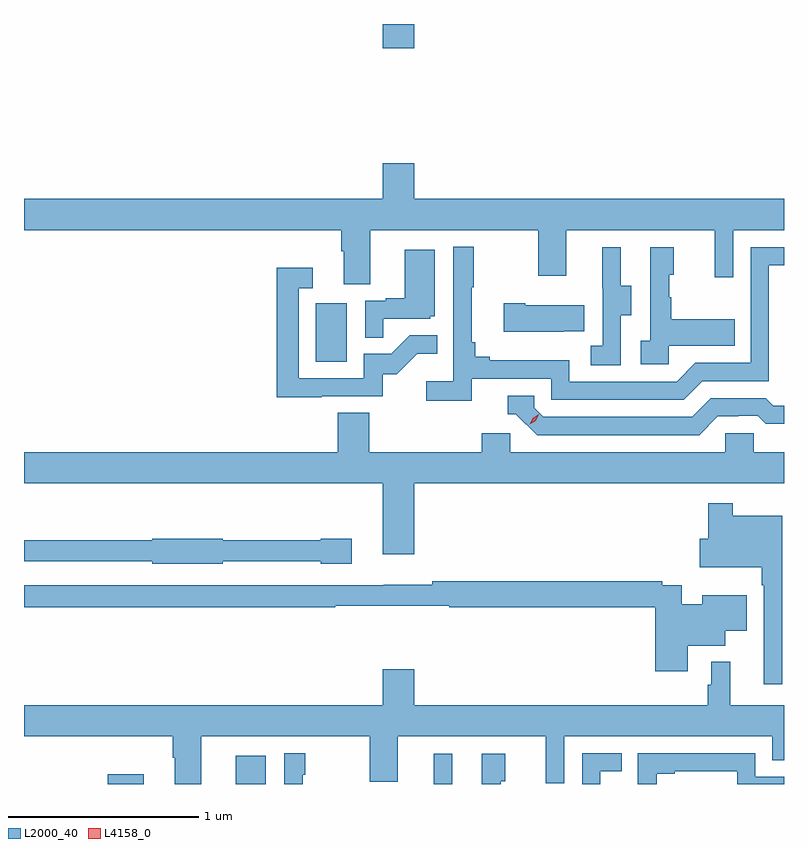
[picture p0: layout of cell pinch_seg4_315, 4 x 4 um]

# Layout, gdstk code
import gdstk
lib = gdstk.Library(unit=1e-6, precision=1e-09)
def R(c, l, rs):  # rectangles x0, y0, x1, y1
    for r in rs: c.add(gdstk.rectangle(r[:2], r[2:], *l))
def P(c, l, *ps):  # polygons
    for p in ps: c.add(gdstk.Polygon(p, *l))
L2000_40 = (2000, 40)
L4158_0 = (4158, 0)

pinch_seg4_315 = lib.new_cell('pinch_seg4_315')
R(pinch_seg4_315, L2000_40, [(918.805,795.237,918.994,795.289), (919.478,795.237,919.636,795.385), (920.519,795.237,920.617,795.397), (919.898,797.46,920.062,797.767), (920.252,799.11,920.416,799.237)])
P(pinch_seg4_315, L2000_40, [(920.185,798.152),(921.07,798.152),(921.07,797.913),(921.217,797.913),(921.217,798.152),(921.998,798.152),(921.998,797.904),(922.095,797.904),(922.095,798.152),(922.363,798.152),(922.363,798.316),(920.416,798.316),(920.416,798.505),(920.252,798.505),(920.252,798.316),(918.363,798.316),(918.363,798.152),(920.033,798.152),(920.033,798.04),(920.045,798.04),(920.045,797.866),(920.185,797.866)],
  [(920.72,797.37),(921.138,797.37),(921.138,797.259),(921.835,797.259),(921.934,797.358),(922.284,797.358),(922.284,797.967),(922.363,797.967),(922.363,798.063),(922.188,798.063),(922.188,797.454),(921.897,797.454),(921.798,797.355),(921.234,797.355),(921.234,797.467),(920.815,797.467),(920.815,797.486),(920.738,797.486),(920.738,797.563),(920.719,797.563),(920.719,797.851),(920.731,797.851),(920.731,798.064),(920.622,798.064),(920.622,797.356),(920.481,797.356),(920.481,797.254),(920.72,797.254)],
  [(921.504,797.704),(921.559,797.704),(921.559,797.859),(921.505,797.859),(921.505,798.061),(921.407,798.061),(921.407,797.847),(921.408,797.847),(921.408,797.543),(921.345,797.543),(921.345,797.44),(921.504,797.44)],
  [(921.756,797.543),(922.103,797.543),(922.103,797.683),(921.769,797.683),(921.769,797.798),(921.759,797.798),(921.759,797.916),(921.784,797.916),(921.784,798.061),(921.66,798.061),(921.66,797.57),(921.609,797.57),(921.609,797.445),(921.756,797.445)],
  [(920.255,797.685),(920.502,797.685),(920.502,797.7),(920.524,797.7),(920.524,798.049),(920.366,798.049),(920.366,797.794),(920.267,797.794),(920.267,797.781),(920.16,797.781),(920.16,797.587),(920.255,797.587)],
  [(919.931,797.277),(920.25,797.277),(920.25,797.394),(920.326,797.394),(920.433,797.501),(920.537,797.501),(920.537,797.6),(920.393,797.6),(920.295,797.502),(920.151,797.502),(920.151,797.373),(919.809,797.373),(919.809,797.847),(919.882,797.847),(919.882,797.953),(919.693,797.953),(919.693,797.272),(919.931,797.272)],
  [(921.203,797.621),(921.311,797.621),(921.311,797.758),(921.001,797.758),(921.001,797.766),(920.889,797.766),(920.889,797.618),(921.203,797.618)],
  [(922.015,797.172),(922.122,797.172),(922.122,797.175),(922.225,797.175),(922.267,797.133),(922.363,797.133),(922.363,797.229),(922.306,797.229),(922.267,797.268),(921.978,797.268),(921.879,797.169),(921.096,797.169),(921.048,797.217),(921.048,797.28),(920.909,797.28),(920.909,797.184),(920.952,797.184),(921.063,797.073),(921.916,797.073)],
  [(920.416,796.82),(922.363,796.82),(922.363,796.984),(922.203,796.984),(922.203,797.082),(922.053,797.082),(922.053,796.984),(920.922,796.984),(920.922,797.082),(920.771,797.082),(920.771,796.984),(920.18,796.984),(920.18,797.192),(920.015,797.192),(920.015,796.984),(918.363,796.984),(918.363,796.82),(920.252,796.82),(920.252,796.446),(920.416,796.446)],
  [(922.354,796.648),(922.093,796.648),(922.093,796.714),(921.964,796.714),(921.964,796.527),(921.92,796.527),(921.92,796.379),(922.245,796.379),(922.245,796.283),(922.257,796.283),(922.257,795.762),(922.354,795.762)],
  [(919.41,796.41),(919.926,796.41),(919.926,796.397),(920.089,796.397),(920.089,796.527),(919.926,796.527),(919.926,796.519),(919.41,796.519),(919.41,796.527),(919.038,796.527),(919.038,796.519),(918.363,796.519),(918.363,796.41),(919.038,796.41),(919.038,796.397),(919.41,796.397)],
  [(921.856,795.965),(922.054,795.965),(922.054,796.043),(922.168,796.043),(922.168,796.231),(921.932,796.231),(921.932,796.183),(921.826,796.183),(921.826,796.284),(921.722,796.284),(921.722,796.304),(920.512,796.304),(920.512,796.285),(920.256,796.285),(920.256,796.284),(918.363,796.284),(918.363,796.168),(920.002,796.168),(920.002,796.176),(920.602,796.176),(920.602,796.168),(921.686,796.168),(921.686,795.831),(921.856,795.831)],
  [(921.981,795.88),(921.981,795.759),(921.961,795.759),(921.961,795.652),(920.416,795.652),(920.416,795.841),(920.252,795.841),(920.252,795.652),(918.363,795.652),(918.363,795.488),(919.145,795.488),(919.145,795.376),(919.157,795.376),(919.157,795.237),(919.297,795.237),(919.297,795.488),(920.182,795.488),(920.182,795.249),(920.329,795.249),(920.329,795.488),(921.11,795.488),(921.11,795.24),(921.207,795.24),(921.207,795.488),(922.302,795.488),(922.302,795.361),(922.363,795.361),(922.363,795.652),(922.079,795.652),(922.079,795.88)],
  [(919.83,795.287),(919.843,795.287),(919.843,795.4),(919.734,795.4),(919.734,795.237),(919.83,795.237)],
  [(921.396,795.303),(921.509,795.303),(921.509,795.399),(921.3,795.399),(921.3,795.237),(921.396,795.237)],
  [(921.692,795.291),(921.787,795.291),(921.787,795.303),(922.116,795.303),(922.116,795.237),(922.363,795.237),(922.363,795.276),(922.212,795.276),(922.212,795.399),(921.594,795.399),(921.594,795.237),(921.692,795.237)],
  [(920.871,795.252),(920.896,795.252),(920.896,795.397),(920.772,795.397),(920.772,795.237),(920.871,795.237)])
P(pinch_seg4_315, L4158_0, [(921.026,797.13),(921.026,797.131),(921.041,797.163),(921.072,797.183),(921.072,797.183),(921.072,797.183),(921.056,797.15),(921.026,797.13)])

lib.write_gds('pinch_seg4_315.gds')
